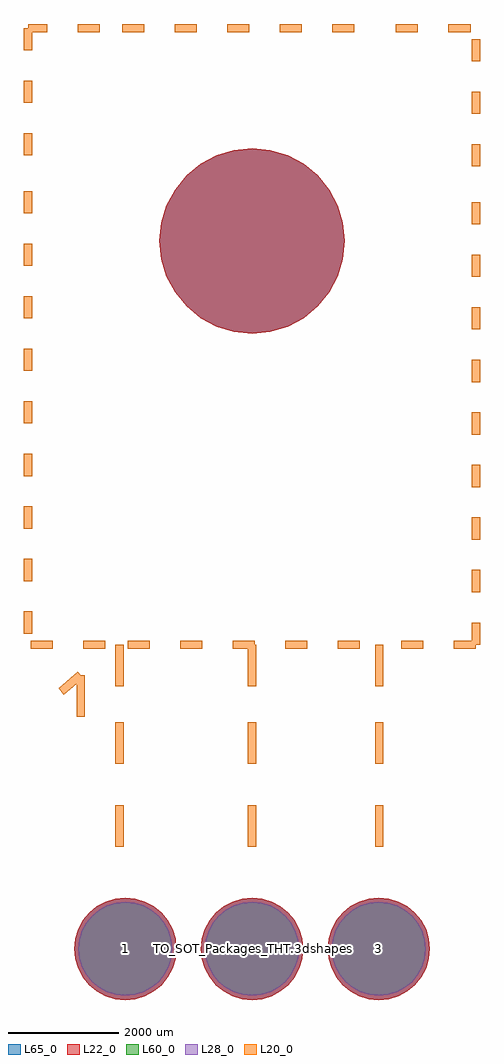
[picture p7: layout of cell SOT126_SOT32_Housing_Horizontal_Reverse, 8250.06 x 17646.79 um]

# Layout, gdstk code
import gdstk
lib = gdstk.Library(unit=1e-6, precision=1e-09)
def P(c, l, *ps):  # polygons
    for p in ps: c.add(gdstk.Polygon(p, *l))
L20_0 = (20, 0)
L22_0 = (22, 0)
L28_0 = (28, 0)
L60_0 = (60, 0)
L65_0 = (65, 0)

sot126_sot32_housing_hor = lib.new_cell('SOT126_SOT32_Housing_Horizontal_Reverse')
P(sot126_sot32_housing_hor, L22_0, [(1675.2,12799.06),(1643.012,13125.875),(1547.683,13440.131),(1392.878,13729.751),(1184.545,13983.605),(930.691,14191.938),(641.071,14346.743),(326.815,14442.072),(0,14474.26),(-326.815,14442.072),(-641.071,14346.743),(-930.691,14191.938),(-1184.545,13983.605),(-1392.878,13729.751),(-1547.683,13440.131),(-1643.012,13125.875),(-1675.2,12799.06),(-1643.012,12472.245),(-1547.683,12157.989),(-1392.878,11868.369),(-1184.545,11614.515),(-930.691,11406.182),(-641.071,11251.377),(-326.815,11156.048),(0,11123.86),(326.815,11156.048),(641.071,11251.377),(930.691,11406.182),(1184.545,11614.515),(1392.878,11868.369),(1547.683,12157.989),(1643.012,12472.245)],
  [(3215.71,0),(3197.943,180.386),(3145.327,353.841),(3059.882,513.697),(2944.892,653.812),(2804.777,768.802),(2644.921,854.247),(2471.466,906.863),(2291.08,924.63),(2110.694,906.863),(1937.239,854.247),(1777.383,768.802),(1637.268,653.812),(1522.278,513.697),(1436.833,353.841),(1384.217,180.386),(1366.45,0),(1384.217,-180.386),(1436.833,-353.841),(1522.278,-513.697),(1637.268,-653.812),(1777.383,-768.802),(1937.239,-854.247),(2110.694,-906.863),(2291.08,-924.63),(2471.466,-906.863),(2644.921,-854.247),(2804.777,-768.802),(2944.892,-653.812),(3059.882,-513.697),(3145.327,-353.841),(3197.943,-180.386)],
  [(-1366.45,0),(-1384.217,180.386),(-1436.833,353.841),(-1522.278,513.697),(-1637.268,653.812),(-1777.383,768.802),(-1937.239,854.247),(-2110.694,906.863),(-2291.08,924.63),(-2471.466,906.863),(-2644.921,854.247),(-2804.777,768.802),(-2944.892,653.812),(-3059.882,513.697),(-3145.327,353.841),(-3197.943,180.386),(-3215.71,0),(-3197.943,-180.386),(-3145.327,-353.841),(-3059.882,-513.697),(-2944.892,-653.812),(-2804.777,-768.802),(-2644.921,-854.247),(-2471.466,-906.863),(-2291.08,-924.63),(-2110.694,-906.863),(-1937.239,-854.247),(-1777.383,-768.802),(-1637.268,-653.812),(-1522.278,-513.697),(-1436.833,-353.841),(-1384.217,-180.386)],
  [(924.63,0),(906.863,180.386),(854.247,353.841),(768.802,513.697),(653.812,653.812),(513.697,768.802),(353.841,854.247),(180.386,906.863),(0,924.63),(-180.386,906.863),(-353.841,854.247),(-513.697,768.802),(-653.812,653.812),(-768.802,513.697),(-854.247,353.841),(-906.863,180.386),(-924.63,0),(-906.863,-180.386),(-854.247,-353.841),(-768.802,-513.697),(-653.812,-653.812),(-513.697,-768.802),(-353.841,-854.247),(-180.386,-906.863),(0,-924.63),(180.386,-906.863),(353.841,-854.247),(513.697,-768.802),(653.812,-653.812),(768.802,-513.697),(854.247,-353.841),(906.863,-180.386)])
P(sot126_sot32_housing_hor, L28_0, [(3140.71,0),(3124.385,165.755),(3076.036,325.139),(2997.522,472.029),(2891.859,600.779),(2763.109,706.442),(2616.219,784.956),(2456.835,833.305),(2291.08,849.63),(2125.325,833.305),(1965.941,784.956),(1819.051,706.442),(1690.301,600.779),(1584.638,472.029),(1506.124,325.139),(1457.775,165.755),(1441.45,0),(1457.775,-165.755),(1506.124,-325.139),(1584.638,-472.029),(1690.301,-600.779),(1819.051,-706.442),(1965.941,-784.956),(2125.325,-833.305),(2291.08,-849.63),(2456.835,-833.305),(2616.219,-784.956),(2763.109,-706.442),(2891.859,-600.779),(2997.522,-472.029),(3076.036,-325.139),(3124.385,-165.755)],
  [(-1441.45,0),(-1457.775,165.755),(-1506.124,325.139),(-1584.638,472.029),(-1690.301,600.779),(-1819.051,706.442),(-1965.941,784.956),(-2125.325,833.305),(-2291.08,849.63),(-2456.835,833.305),(-2616.219,784.956),(-2763.109,706.442),(-2891.859,600.779),(-2997.522,472.029),(-3076.036,325.139),(-3124.385,165.755),(-3140.71,0),(-3124.385,-165.755),(-3076.036,-325.139),(-2997.522,-472.029),(-2891.859,-600.779),(-2763.109,-706.442),(-2616.219,-784.956),(-2456.835,-833.305),(-2291.08,-849.63),(-2125.325,-833.305),(-1965.941,-784.956),(-1819.051,-706.442),(-1690.301,-600.779),(-1584.638,-472.029),(-1506.124,-325.139),(-1457.775,-165.755)],
  [(849.63,0),(833.305,165.755),(784.956,325.139),(706.442,472.029),(600.779,600.779),(472.029,706.442),(325.139,784.956),(165.755,833.305),(0,849.63),(-165.755,833.305),(-325.139,784.956),(-472.029,706.442),(-600.779,600.779),(-706.442,472.029),(-784.956,325.139),(-833.305,165.755),(-849.63,0),(-833.305,-165.755),(-784.956,-325.139),(-706.442,-472.029),(-600.779,-600.779),(-472.029,-706.442),(-325.139,-784.956),(-165.755,-833.305),(0,-849.63),(165.755,-833.305),(325.139,-784.956),(472.029,-706.442),(600.779,-600.779),(706.442,-472.029),(784.956,-325.139),(833.305,-165.755)])
P(sot126_sot32_housing_hor, L60_0, [(3140.71,0),(3124.385,165.755),(3076.036,325.139),(2997.522,472.029),(2891.859,600.779),(2763.109,706.442),(2616.219,784.956),(2456.835,833.305),(2291.08,849.63),(2125.325,833.305),(1965.941,784.956),(1819.051,706.442),(1690.301,600.779),(1584.638,472.029),(1506.124,325.139),(1457.775,165.755),(1441.45,0),(1457.775,-165.755),(1506.124,-325.139),(1584.638,-472.029),(1690.301,-600.779),(1819.051,-706.442),(1965.941,-784.956),(2125.325,-833.305),(2291.08,-849.63),(2456.835,-833.305),(2616.219,-784.956),(2763.109,-706.442),(2891.859,-600.779),(2997.522,-472.029),(3076.036,-325.139),(3124.385,-165.755)],
  [(-1441.45,0),(-1457.775,165.755),(-1506.124,325.139),(-1584.638,472.029),(-1690.301,600.779),(-1819.051,706.442),(-1965.941,784.956),(-2125.325,833.305),(-2291.08,849.63),(-2456.835,833.305),(-2616.219,784.956),(-2763.109,706.442),(-2891.859,600.779),(-2997.522,472.029),(-3076.036,325.139),(-3124.385,165.755),(-3140.71,0),(-3124.385,-165.755),(-3076.036,-325.139),(-2997.522,-472.029),(-2891.859,-600.779),(-2763.109,-706.442),(-2616.219,-784.956),(-2456.835,-833.305),(-2291.08,-849.63),(-2125.325,-833.305),(-1965.941,-784.956),(-1819.051,-706.442),(-1690.301,-600.779),(-1584.638,-472.029),(-1506.124,-325.139),(-1457.775,-165.755)],
  [(849.63,0),(833.305,165.755),(784.956,325.139),(706.442,472.029),(600.779,600.779),(472.029,706.442),(325.139,784.956),(165.755,833.305),(0,849.63),(-165.755,833.305),(-325.139,784.956),(-472.029,706.442),(-600.779,600.779),(-706.442,472.029),(-784.956,325.139),(-833.305,165.755),(-849.63,0),(-833.305,-165.755),(-784.956,-325.139),(-706.442,-472.029),(-600.779,-600.779),(-472.029,-706.442),(-325.139,-784.956),(-165.755,-833.305),(0,-849.63),(165.755,-833.305),(325.139,-784.956),(472.029,-706.442),(600.779,-600.779),(706.442,-472.029),(784.956,-325.139),(833.305,-165.755)])
P(sot126_sot32_housing_hor, L65_0, [(1675.2,12799.06),(1643.012,13125.875),(1547.683,13440.131),(1392.878,13729.751),(1184.545,13983.605),(930.691,14191.938),(641.071,14346.743),(326.815,14442.072),(0,14474.26),(-326.815,14442.072),(-641.071,14346.743),(-930.691,14191.938),(-1184.545,13983.605),(-1392.878,13729.751),(-1547.683,13440.131),(-1643.012,13125.875),(-1675.2,12799.06),(-1643.012,12472.245),(-1547.683,12157.989),(-1392.878,11868.369),(-1184.545,11614.515),(-930.691,11406.182),(-641.071,11251.377),(-326.815,11156.048),(0,11123.86),(326.815,11156.048),(641.071,11251.377),(930.691,11406.182),(1184.545,11614.515),(1392.878,11868.369),(1547.683,12157.989),(1643.012,12472.245)],
  [(3215.71,0),(3197.943,180.386),(3145.327,353.841),(3059.882,513.697),(2944.892,653.812),(2804.777,768.802),(2644.921,854.247),(2471.466,906.863),(2291.08,924.63),(2110.694,906.863),(1937.239,854.247),(1777.383,768.802),(1637.268,653.812),(1522.278,513.697),(1436.833,353.841),(1384.217,180.386),(1366.45,0),(1384.217,-180.386),(1436.833,-353.841),(1522.278,-513.697),(1637.268,-653.812),(1777.383,-768.802),(1937.239,-854.247),(2110.694,-906.863),(2291.08,-924.63),(2471.466,-906.863),(2644.921,-854.247),(2804.777,-768.802),(2944.892,-653.812),(3059.882,-513.697),(3145.327,-353.841),(3197.943,-180.386)],
  [(-1366.45,0),(-1384.217,180.386),(-1436.833,353.841),(-1522.278,513.697),(-1637.268,653.812),(-1777.383,768.802),(-1937.239,854.247),(-2110.694,906.863),(-2291.08,924.63),(-2471.466,906.863),(-2644.921,854.247),(-2804.777,768.802),(-2944.892,653.812),(-3059.882,513.697),(-3145.327,353.841),(-3197.943,180.386),(-3215.71,0),(-3197.943,-180.386),(-3145.327,-353.841),(-3059.882,-513.697),(-2944.892,-653.812),(-2804.777,-768.802),(-2644.921,-854.247),(-2471.466,-906.863),(-2291.08,-924.63),(-2110.694,-906.863),(-1937.239,-854.247),(-1777.383,-768.802),(-1637.268,-653.812),(-1522.278,-513.697),(-1436.833,-353.841),(-1384.217,-180.386)],
  [(924.63,0),(906.863,180.386),(854.247,353.841),(768.802,513.697),(653.812,653.812),(513.697,768.802),(353.841,854.247),(180.386,906.863),(0,924.63),(-180.386,906.863),(-353.841,854.247),(-513.697,768.802),(-653.812,653.812),(-768.802,513.697),(-854.247,353.841),(-906.863,180.386),(-924.63,0),(-906.863,-180.386),(-854.247,-353.841),(-768.802,-513.697),(-653.812,-653.812),(-513.697,-768.802),(-353.841,-854.247),(-180.386,-906.863),(0,-924.63),(180.386,-906.863),(353.841,-854.247),(513.697,-768.802),(653.812,-653.812),(768.802,-513.697),(854.247,-353.841),(906.863,-180.386)])
sot126_sot32_housing_hor.add(gdstk.FlexPath([(-3098.8,4950.46),(-3098.8,4201.16)], 149.998, ends="flush", simple_path=True, layer=20, datatype=0))  # L20_0
sot126_sot32_housing_hor.add(gdstk.FlexPath([(-3449.32,4650.74),(-3098.8,4950.46)], 149.998, ends="flush", simple_path=True, layer=20, datatype=0))  # L20_0
sot126_sot32_housing_hor.add(gdstk.FlexPath([(3700.78,5499.1),(3649.98,5499.1)], 149.998, ends="flush", simple_path=True, layer=20, datatype=0))  # L20_0
sot126_sot32_housing_hor.add(gdstk.FlexPath([(4048.76,5499.1),(3700.78,5499.1)], 149.998, ends="flush", simple_path=True, layer=20, datatype=0))  # L20_0
sot126_sot32_housing_hor.add(gdstk.FlexPath([(3098.8,5499.1),(2750.82,5499.1)], 149.998, ends="flush", simple_path=True, layer=20, datatype=0))  # L20_0
sot126_sot32_housing_hor.add(gdstk.FlexPath([(2750.82,5499.1),(2700.02,5499.1)], 149.998, ends="flush", simple_path=True, layer=20, datatype=0))  # L20_0
sot126_sot32_housing_hor.add(gdstk.FlexPath([(1600.2,5499.1),(1549.4,5499.1)], 149.998, ends="flush", simple_path=True, layer=20, datatype=0))  # L20_0
sot126_sot32_housing_hor.add(gdstk.FlexPath([(1948.18,5499.1),(1600.2,5499.1)], 149.998, ends="flush", simple_path=True, layer=20, datatype=0))  # L20_0
sot126_sot32_housing_hor.add(gdstk.FlexPath([(998.22,5499.1),(650.24,5499.1)], 149.998, ends="flush", simple_path=True, layer=20, datatype=0))  # L20_0
sot126_sot32_housing_hor.add(gdstk.FlexPath([(650.24,5499.1),(599.44,5499.1)], 149.998, ends="flush", simple_path=True, layer=20, datatype=0))  # L20_0
sot126_sot32_housing_hor.add(gdstk.FlexPath([(-299.72,5499.1),(-350.52,5499.1)], 149.998, ends="flush", simple_path=True, layer=20, datatype=0))  # L20_0
sot126_sot32_housing_hor.add(gdstk.FlexPath([(48.26,5499.1),(-299.72,5499.1)], 149.998, ends="flush", simple_path=True, layer=20, datatype=0))  # L20_0
sot126_sot32_housing_hor.add(gdstk.FlexPath([(-1249.68,5499.1),(-1300.48,5499.1)], 149.998, ends="flush", simple_path=True, layer=20, datatype=0))  # L20_0
sot126_sot32_housing_hor.add(gdstk.FlexPath([(-901.7,5499.1),(-1249.68,5499.1)], 149.998, ends="flush", simple_path=True, layer=20, datatype=0))  # L20_0
sot126_sot32_housing_hor.add(gdstk.FlexPath([(-1851.66,5499.1),(-2199.64,5499.1)], 149.998, ends="flush", simple_path=True, layer=20, datatype=0))  # L20_0
sot126_sot32_housing_hor.add(gdstk.FlexPath([(-2199.64,5499.1),(-2250.44,5499.1)], 149.998, ends="flush", simple_path=True, layer=20, datatype=0))  # L20_0
sot126_sot32_housing_hor.add(gdstk.FlexPath([(-2651.76,5499.1),(-2999.74,5499.1)], 149.998, ends="flush", simple_path=True, layer=20, datatype=0))  # L20_0
sot126_sot32_housing_hor.add(gdstk.FlexPath([(-2999.74,5499.1),(-3050.54,5499.1)], 149.998, ends="flush", simple_path=True, layer=20, datatype=0))  # L20_0
sot126_sot32_housing_hor.add(gdstk.FlexPath([(-3601.72,5499.1),(-3949.7,5499.1)], 149.998, ends="flush", simple_path=True, layer=20, datatype=0))  # L20_0
sot126_sot32_housing_hor.add(gdstk.FlexPath([(-3949.7,5499.1),(-4000.5,5499.1)], 149.998, ends="flush", simple_path=True, layer=20, datatype=0))  # L20_0
sot126_sot32_housing_hor.add(gdstk.FlexPath([(4048.76,5499.1),(4048.76,5900.42)], 149.998, ends="flush", simple_path=True, layer=20, datatype=0))  # L20_0
sot126_sot32_housing_hor.add(gdstk.FlexPath([(4048.76,6449.06),(4048.76,6850.38)], 149.998, ends="flush", simple_path=True, layer=20, datatype=0))  # L20_0
sot126_sot32_housing_hor.add(gdstk.FlexPath([(4048.76,7399.02),(4048.76,7800.34)], 149.998, ends="flush", simple_path=True, layer=20, datatype=0))  # L20_0
sot126_sot32_housing_hor.add(gdstk.FlexPath([(4048.76,9298.94),(4048.76,9700.26)], 149.998, ends="flush", simple_path=True, layer=20, datatype=0))  # L20_0
sot126_sot32_housing_hor.add(gdstk.FlexPath([(4048.76,8348.98),(4048.76,8750.3)], 149.998, ends="flush", simple_path=True, layer=20, datatype=0))  # L20_0
sot126_sot32_housing_hor.add(gdstk.FlexPath([(4048.76,12148.82),(4048.76,12550.14)], 149.998, ends="flush", simple_path=True, layer=20, datatype=0))  # L20_0
sot126_sot32_housing_hor.add(gdstk.FlexPath([(4048.76,13098.78),(4048.76,13500.1)], 149.998, ends="flush", simple_path=True, layer=20, datatype=0))  # L20_0
sot126_sot32_housing_hor.add(gdstk.FlexPath([(4048.76,11198.86),(4048.76,11600.18)], 149.998, ends="flush", simple_path=True, layer=20, datatype=0))  # L20_0
sot126_sot32_housing_hor.add(gdstk.FlexPath([(4048.76,10248.9),(4048.76,10650.22)], 149.998, ends="flush", simple_path=True, layer=20, datatype=0))  # L20_0
sot126_sot32_housing_hor.add(gdstk.FlexPath([(4048.76,14147.8),(4048.76,14549.12)], 149.998, ends="flush", simple_path=True, layer=20, datatype=0))  # L20_0
sot126_sot32_housing_hor.add(gdstk.FlexPath([(4048.76,15097.76),(4048.76,15499.08)], 149.998, ends="flush", simple_path=True, layer=20, datatype=0))  # L20_0
sot126_sot32_housing_hor.add(gdstk.FlexPath([(4048.76,16047.72),(4048.76,16449.04)], 149.998, ends="flush", simple_path=True, layer=20, datatype=0))  # L20_0
sot126_sot32_housing_hor.add(gdstk.FlexPath([(-3700.78,16647.16),(-4048.76,16647.16)], 149.998, ends="flush", simple_path=True, layer=20, datatype=0))  # L20_0
sot126_sot32_housing_hor.add(gdstk.FlexPath([(-3098.8,16647.16),(-3149.6,16647.16)], 149.998, ends="flush", simple_path=True, layer=20, datatype=0))  # L20_0
sot126_sot32_housing_hor.add(gdstk.FlexPath([(-2750.82,16647.16),(-3098.8,16647.16)], 149.998, ends="flush", simple_path=True, layer=20, datatype=0))  # L20_0
sot126_sot32_housing_hor.add(gdstk.FlexPath([(-2298.7,16647.16),(-2349.5,16647.16)], 149.998, ends="flush", simple_path=True, layer=20, datatype=0))  # L20_0
sot126_sot32_housing_hor.add(gdstk.FlexPath([(-1950.72,16647.16),(-2298.7,16647.16)], 149.998, ends="flush", simple_path=True, layer=20, datatype=0))  # L20_0
sot126_sot32_housing_hor.add(gdstk.FlexPath([(-1000.76,16647.16),(-1348.74,16647.16)], 149.998, ends="flush", simple_path=True, layer=20, datatype=0))  # L20_0
sot126_sot32_housing_hor.add(gdstk.FlexPath([(-1348.74,16647.16),(-1399.54,16647.16)], 149.998, ends="flush", simple_path=True, layer=20, datatype=0))  # L20_0
sot126_sot32_housing_hor.add(gdstk.FlexPath([(-50.8,16647.16),(-398.78,16647.16)], 149.998, ends="flush", simple_path=True, layer=20, datatype=0))  # L20_0
sot126_sot32_housing_hor.add(gdstk.FlexPath([(-398.78,16647.16),(-449.58,16647.16)], 149.998, ends="flush", simple_path=True, layer=20, datatype=0))  # L20_0
sot126_sot32_housing_hor.add(gdstk.FlexPath([(551.18,16647.16),(500.38,16647.16)], 149.998, ends="flush", simple_path=True, layer=20, datatype=0))  # L20_0
sot126_sot32_housing_hor.add(gdstk.FlexPath([(899.16,16647.16),(551.18,16647.16)], 149.998, ends="flush", simple_path=True, layer=20, datatype=0))  # L20_0
sot126_sot32_housing_hor.add(gdstk.FlexPath([(1849.12,16647.16),(1501.14,16647.16)], 149.998, ends="flush", simple_path=True, layer=20, datatype=0))  # L20_0
sot126_sot32_housing_hor.add(gdstk.FlexPath([(1501.14,16647.16),(1450.34,16647.16)], 149.998, ends="flush", simple_path=True, layer=20, datatype=0))  # L20_0
sot126_sot32_housing_hor.add(gdstk.FlexPath([(2651.76,16647.16),(2600.96,16647.16)], 149.998, ends="flush", simple_path=True, layer=20, datatype=0))  # L20_0
sot126_sot32_housing_hor.add(gdstk.FlexPath([(2999.74,16647.16),(2651.76,16647.16)], 149.998, ends="flush", simple_path=True, layer=20, datatype=0))  # L20_0
sot126_sot32_housing_hor.add(gdstk.FlexPath([(3949.7,16647.16),(3601.72,16647.16)], 149.998, ends="flush", simple_path=True, layer=20, datatype=0))  # L20_0
sot126_sot32_housing_hor.add(gdstk.FlexPath([(3601.72,16647.16),(3550.92,16647.16)], 149.998, ends="flush", simple_path=True, layer=20, datatype=0))  # L20_0
sot126_sot32_housing_hor.add(gdstk.FlexPath([(-4051.3,16248.38),(-4051.3,16649.7)], 149.998, ends="flush", simple_path=True, layer=20, datatype=0))  # L20_0
sot126_sot32_housing_hor.add(gdstk.FlexPath([(-4051.3,15298.42),(-4051.3,15699.74)], 149.998, ends="flush", simple_path=True, layer=20, datatype=0))  # L20_0
sot126_sot32_housing_hor.add(gdstk.FlexPath([(-4051.3,14348.46),(-4051.3,14749.78)], 149.998, ends="flush", simple_path=True, layer=20, datatype=0))  # L20_0
sot126_sot32_housing_hor.add(gdstk.FlexPath([(-4051.3,10449.56),(-4051.3,10850.88)], 149.998, ends="flush", simple_path=True, layer=20, datatype=0))  # L20_0
sot126_sot32_housing_hor.add(gdstk.FlexPath([(-4051.3,11399.52),(-4051.3,11800.84)], 149.998, ends="flush", simple_path=True, layer=20, datatype=0))  # L20_0
sot126_sot32_housing_hor.add(gdstk.FlexPath([(-4051.3,13299.44),(-4051.3,13700.76)], 149.998, ends="flush", simple_path=True, layer=20, datatype=0))  # L20_0
sot126_sot32_housing_hor.add(gdstk.FlexPath([(-4051.3,12349.48),(-4051.3,12750.8)], 149.998, ends="flush", simple_path=True, layer=20, datatype=0))  # L20_0
sot126_sot32_housing_hor.add(gdstk.FlexPath([(-4051.3,8549.64),(-4051.3,8950.96)], 149.998, ends="flush", simple_path=True, layer=20, datatype=0))  # L20_0
sot126_sot32_housing_hor.add(gdstk.FlexPath([(-4051.3,9499.6),(-4051.3,9900.92)], 149.998, ends="flush", simple_path=True, layer=20, datatype=0))  # L20_0
sot126_sot32_housing_hor.add(gdstk.FlexPath([(-4051.3,7599.68),(-4051.3,8001)], 149.998, ends="flush", simple_path=True, layer=20, datatype=0))  # L20_0
sot126_sot32_housing_hor.add(gdstk.FlexPath([(-4051.3,6649.72),(-4051.3,7051.04)], 149.998, ends="flush", simple_path=True, layer=20, datatype=0))  # L20_0
sot126_sot32_housing_hor.add(gdstk.FlexPath([(-4051.3,5699.76),(-4051.3,6101.08)], 149.998, ends="flush", simple_path=True, layer=20, datatype=0))  # L20_0
sot126_sot32_housing_hor.add(gdstk.FlexPath([(0,5499.1),(0,4749.8)], 149.998, ends="flush", simple_path=True, layer=20, datatype=0))  # L20_0
sot126_sot32_housing_hor.add(gdstk.FlexPath([(0,4099.56),(0,3350.26)], 149.998, ends="flush", simple_path=True, layer=20, datatype=0))  # L20_0
sot126_sot32_housing_hor.add(gdstk.FlexPath([(0,2598.42),(0,1849.12)], 149.998, ends="flush", simple_path=True, layer=20, datatype=0))  # L20_0
sot126_sot32_housing_hor.add(gdstk.FlexPath([(2301.24,2598.42),(2301.24,1849.12)], 149.998, ends="flush", simple_path=True, layer=20, datatype=0))  # L20_0
sot126_sot32_housing_hor.add(gdstk.FlexPath([(2301.24,4099.56),(2301.24,3350.26)], 149.998, ends="flush", simple_path=True, layer=20, datatype=0))  # L20_0
sot126_sot32_housing_hor.add(gdstk.FlexPath([(2301.24,5499.1),(2301.24,4749.8)], 149.998, ends="flush", simple_path=True, layer=20, datatype=0))  # L20_0
sot126_sot32_housing_hor.add(gdstk.FlexPath([(-2397.76,2598.42),(-2397.76,1849.12)], 149.998, ends="flush", simple_path=True, layer=20, datatype=0))  # L20_0
sot126_sot32_housing_hor.add(gdstk.FlexPath([(-2397.76,4099.56),(-2397.76,3350.26)], 149.998, ends="flush", simple_path=True, layer=20, datatype=0))  # L20_0
sot126_sot32_housing_hor.add(gdstk.FlexPath([(-2397.76,5499.1),(-2397.76,4749.8)], 149.998, ends="flush", simple_path=True, layer=20, datatype=0))  # L20_0
sot126_sot32_housing_hor.add(gdstk.Label('TO_SOT_Packages_THT.3dshapes/SOT126_SOT32_Housing_Horizontal_Reverse.wrl', (0,0), layer=12, texttype=0))
sot126_sot32_housing_hor.add(gdstk.Label('3', (2291.08,0), layer=28, texttype=0))
sot126_sot32_housing_hor.add(gdstk.Label('1', (-2291.08,0), layer=28, texttype=0))
sot126_sot32_housing_hor.add(gdstk.Label('2', (0,0), layer=28, texttype=0))
sot126_sot32_housing_hor.add(gdstk.Label('type', (701.04,-4300.22), layer=9, texttype=0))
sot126_sot32_housing_hor.add(gdstk.Label('devicename', (149.86,17899.38), layer=9, texttype=0))

lib.write_gds('SOT126_SOT32_Housing_Horizontal_Reverse.gds')
